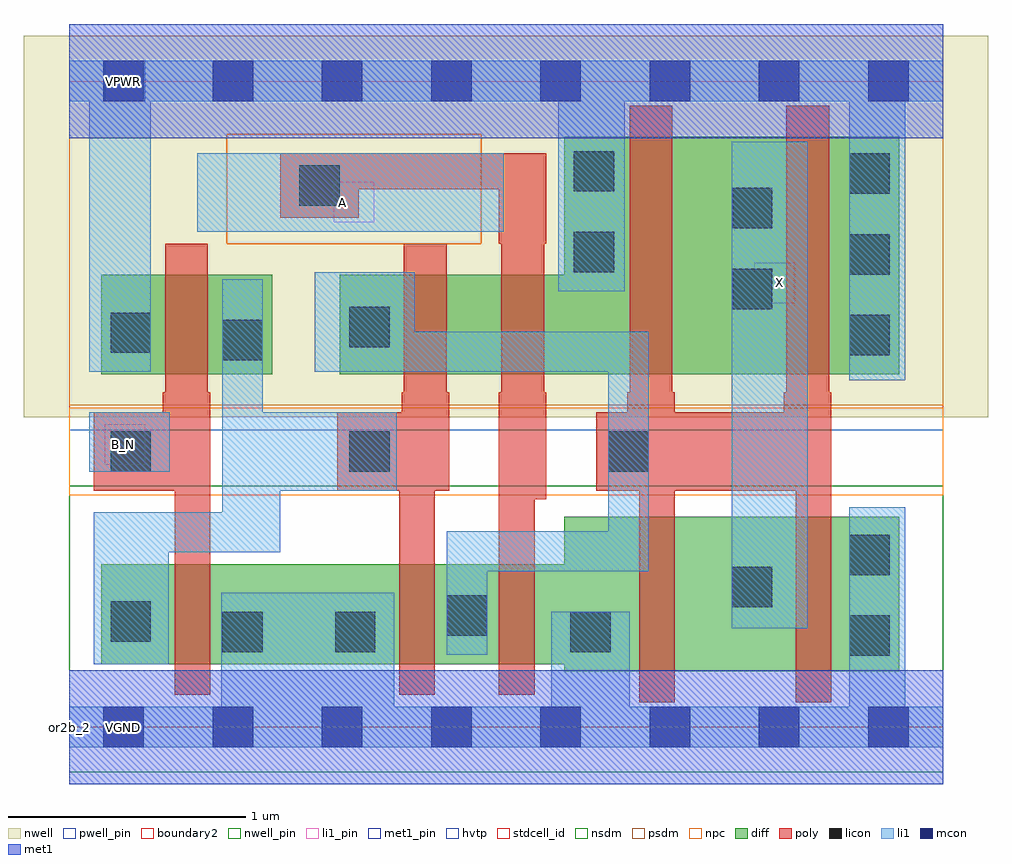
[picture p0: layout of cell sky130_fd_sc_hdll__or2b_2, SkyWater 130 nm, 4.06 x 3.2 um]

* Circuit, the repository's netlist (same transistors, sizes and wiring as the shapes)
* Copyright 2020 The SkyWater PDK Authors
*
* Licensed under the Apache License, Version 2.0 (the "License");
* you may not use this file except in compliance with the License.
* You may obtain a copy of the License at
*
*     https://www.apache.org/licenses/LICENSE-2.0
*
* Unless required by applicable law or agreed to in writing, software
* distributed under the License is distributed on an "AS IS" BASIS,
* WITHOUT WARRANTIES OR CONDITIONS OF ANY KIND, either express or implied.
* See the License for the specific language governing permissions and
* limitations under the License.
*
* SPDX-License-Identifier: Apache-2.0

.SUBCKT sky130_fd_sc_hdll__or2b_2 A B_N VGND VNB VPB VPWR X
*.PININFO A:I B_N:I VGND:I VNB:I VPB:I VPWR:I X:O
MMP0 VPWR A sndPA VPB sky130_fd_pr__pfet_01v8_hvt m=1 w=0.42U l=0.18U mult=1 sa=0.265
+ sb=0.265 sd=0.28 area=0.063 perim=1.14
MMP1 sndPA B y VPB sky130_fd_pr__pfet_01v8_hvt m=1 w=0.42U l=0.18U mult=1 sa=0.265
+ sb=0.265 sd=0.28 area=0.063 perim=1.14
MMIP1 B B_N VPWR VPB sky130_fd_pr__pfet_01v8_hvt m=1 w=0.42U l=0.18U mult=1 sa=0.265
+ sb=0.265 sd=0.28 area=0.063 perim=1.14
MMIP2 X y VPWR VPB sky130_fd_pr__pfet_01v8_hvt m=2 w=1.0U l=0.18U mult=1 sa=0.265
+ sb=0.265 sd=0.28 area=0.063 perim=1.14
MMN0 y A VGND VNB sky130_fd_pr__nfet_01v8 m=1 w=0.42U l=0.15U mult=1 sa=0.265 sb=0.265
+ sd=0.28 area=0.063 perim=1.14
MMN1 y B VGND VNB sky130_fd_pr__nfet_01v8 m=1 w=0.42U l=0.15U mult=1 sa=0.265 sb=0.265
+ sd=0.28 area=0.063 perim=1.14
MMIN1 B B_N VGND VNB sky130_fd_pr__nfet_01v8 m=1 w=0.42U l=0.15U mult=1 sa=0.265
+ sb=0.265 sd=0.28 area=0.063 perim=1.14
MMIN2 X y VGND VNB sky130_fd_pr__nfet_01v8 m=2 w=0.65U l=0.15U mult=1 sa=0.265
+ sb=0.265 sd=0.28 area=0.063 perim=1.14
.ENDS sky130_fd_sc_hdll__or2b_2

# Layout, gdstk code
import gdstk
lib = gdstk.Library(unit=1e-6, precision=1e-09)
def R(c, l, rs):  # rectangles x0, y0, x1, y1
    for r in rs: c.add(gdstk.rectangle(r[:2], r[2:], *l))
def A(c, l, x, y, w, h, nx, ny, dx, dy):  # array of equal rectangles
    R(c, l, [(x+i*dx, y+j*dy, x+i*dx+w, y+j*dy+h) for i in range(nx) for j in range(ny)])
def P(c, l, *ps):  # polygons
    for p in ps: c.add(gdstk.Polygon(p, *l))
nwell_pin = (64, 16)
nwell = (64, 20)
diff = (65, 20)
poly = (66, 20)
licon = (66, 44)
li1_pin = (67, 16)
li1 = (67, 20)
mcon = (67, 44)
met1_pin = (68, 16)
met1 = (68, 20)
hvtp = (78, 44)
stdcell_id = (81, 4)
nsdm = (93, 44)
psdm = (94, 20)
npc = (95, 20)
pwell_pin = (122, 16)
boundary2 = (236, 0)

sky130_fd_sc_hdll__or2b_ = lib.new_cell('sky130_fd_sc_hdll__or2b_2')
R(sky130_fd_sc_hdll__or2b_, nwell_pin, [(0.15,2.635,0.32,2.805)])
R(sky130_fd_sc_hdll__or2b_, nwell, [(-0.19,1.305,3.87,2.91)])
R(sky130_fd_sc_hdll__or2b_, diff, [(0.135,1.485,0.855,1.905)])
P(sky130_fd_sc_hdll__or2b_, diff, [(3.495,0.885),(2.085,0.885),(2.085,0.685),(0.135,0.685),(0.135,0.265),(2.085,0.265),(2.085,0.235),(3.495,0.235)],
  [(3.495,2.485),(2.085,2.485),(2.085,1.905),(1.14,1.905),(1.14,1.485),(3.495,1.485)])
P(sky130_fd_sc_hdll__or2b_, poly, [(0.595,1.41),(0.585,1.41),(0.585,2.035),(0.405,2.035),(0.405,1.41),(0.395,1.41),(0.395,1.325),(0.105,1.325),(0.105,0.995),(0.445,0.995),(0.445,0.135),(0.595,0.135)],
  [(1.6,1.41),(1.59,1.41),(1.59,2.035),(1.41,2.035),(1.41,1.41),(1.4,1.41),(1.4,1.325),(1.13,1.325),(1.13,0.995),(1.39,0.995),(1.39,0.135),(1.54,0.135),(1.54,0.995),(1.6,0.995)],
  [(2.01,2.415),(0.89,2.415),(0.89,2.145),(1.22,2.145),(1.22,2.265),(1.81,2.265),(1.81,2.035),(1.82,2.035),(1.82,1.41),(1.81,1.41),(1.81,0.135),(1.96,0.135),(1.96,0.96),(2.01,0.96),(2.01,1.41),(2,1.41),(2,2.035),(2.01,2.035)],
  [(3.21,1.41),(3.2,1.41),(3.2,2.615),(3.02,2.615),(3.02,1.41),(3.01,1.41),(3.01,1.325),(2.55,1.325),(2.55,1.41),(2.54,1.41),(2.54,2.615),(2.36,2.615),(2.36,1.41),(2.35,1.41),(2.35,1.325),(2.22,1.325),(2.22,0.995),(2.4,0.995),(2.4,0.105),(2.55,0.105),(2.55,0.995),(3.06,0.995),(3.06,0.105),(3.21,0.105)])
A(sky130_fd_sc_hdll__or2b_, licon, 3.285, 1.565, 0.17, 0.17, 1, 3, 0, 0.34)
R(sky130_fd_sc_hdll__or2b_, licon, [(3.285,0.3,3.455,0.47), (0.645,0.315,0.815,0.485), (1.12,0.315,1.29,0.485), (2.11,0.315,2.28,0.485), (0.175,0.36,0.345,0.53), (1.59,0.385,1.76,0.555), (2.79,0.505,2.96,0.675), (3.285,0.64,3.455,0.81), (0.175,1.075,0.345,1.245), (1.18,1.075,1.35,1.245), (2.27,1.075,2.44,1.245), (0.645,1.545,0.815,1.715), (0.175,1.575,0.345,1.745), (1.18,1.6,1.35,1.77), (2.79,1.76,2.96,1.93), (2.125,1.915,2.295,2.085), (2.79,2.1,2.96,2.27), (0.97,2.195,1.14,2.365), (2.125,2.255,2.295,2.425)])
R(sky130_fd_sc_hdll__or2b_, li1_pin, [(0.15,1.105,0.32,1.275), (2.885,1.785,3.055,1.955), (1.115,2.125,1.285,2.295)])
R(sky130_fd_sc_hdll__or2b_, li1, [(2.79,0.415,3.11,2.465), (0.085,1.075,0.425,1.325), (0.54,2.085,1.83,2.415)])
P(sky130_fd_sc_hdll__or2b_, li1, [(3.68,0.085),(3.52,0.085),(3.52,0.925),(3.285,0.925),(3.285,0.085),(2.36,0.085),(2.36,0.485),(2.03,0.485),(2.03,0.085),(1.37,0.085),(1.37,0.565),(0.64,0.565),(0.64,0.085),(0,0.085),(0,-0.085),(3.68,-0.085)],
  [(3.68,2.805),(0,2.805),(0,2.635),(0.085,2.635),(0.085,1.495),(0.345,1.495),(0.345,2.635),(2.06,2.635),(2.06,1.835),(2.34,1.835),(2.34,2.635),(3.285,2.635),(3.285,1.46),(3.52,1.46),(3.52,2.635),(3.68,2.635)],
  [(1.38,1.325),(0.815,1.325),(0.815,1.885),(0.645,1.885),(0.645,0.905),(0.105,0.905),(0.105,0.265),(0.42,0.265),(0.42,0.735),(0.89,0.735),(0.89,0.995),(1.38,0.995)],
  [(2.44,1.665),(1.455,1.665),(1.455,1.915),(1.035,1.915),(1.035,1.495),(2.27,1.495),(2.27,0.825),(1.59,0.825),(1.59,0.305),(1.76,0.305),(1.76,0.655),(2.44,0.655)])
A(sky130_fd_sc_hdll__or2b_, mcon, 0.145, -0.085, 0.17, 0.17, 8, 2, 0.46, 2.72)
R(sky130_fd_sc_hdll__or2b_, met1_pin, [(0.145,-0.085,0.315,0.085), (0.15,2.635,0.32,2.805)])
R(sky130_fd_sc_hdll__or2b_, met1, [(0,-0.24,3.68,0.24), (0,2.48,3.68,2.96)])
R(sky130_fd_sc_hdll__or2b_, hvtp, [(0,1.25,3.68,2.72)])
R(sky130_fd_sc_hdll__or2b_, stdcell_id, [(0,0,3.68,2.72)])
R(sky130_fd_sc_hdll__or2b_, nsdm, [(0,-0.19,3.68,1.015)])
P(sky130_fd_sc_hdll__or2b_, psdm, [(3.68,2.91),(1.735,2.91),(1.735,2.035),(0.665,2.035),(0.665,2.495),(1.735,2.495),(1.735,2.91),(0,2.91),(0,1.355),(3.68,1.355)])
R(sky130_fd_sc_hdll__or2b_, npc, [(0,0.975,3.68,1.345), (0.665,2.035,1.735,2.495)])
R(sky130_fd_sc_hdll__or2b_, pwell_pin, [(0.145,-0.085,0.315,0.085)])
R(sky130_fd_sc_hdll__or2b_, boundary2, [(0,0,3.68,2.72)])
sky130_fd_sc_hdll__or2b_.add(gdstk.Label('A', (1.15,2.21), layer=67, texttype=5))
sky130_fd_sc_hdll__or2b_.add(gdstk.Label('B_N', (0.23,1.19), layer=67, texttype=5))
sky130_fd_sc_hdll__or2b_.add(gdstk.Label('X', (2.99,1.87), layer=67, texttype=5))
sky130_fd_sc_hdll__or2b_.add(gdstk.Label('VPWR', (0.23,2.72), layer=68, texttype=5))
sky130_fd_sc_hdll__or2b_.add(gdstk.Label('VGND', (0.23,0), layer=68, texttype=5))
sky130_fd_sc_hdll__or2b_.add(gdstk.Label('VNB', (0.23,0), layer=64, texttype=59))
sky130_fd_sc_hdll__or2b_.add(gdstk.Label('VPB', (0.23,2.72), layer=64, texttype=5))
sky130_fd_sc_hdll__or2b_.add(gdstk.Label('or2b_2', (0,0), layer=83, texttype=44))

lib.write_gds('sky130_fd_sc_hdll__or2b_2.gds')
